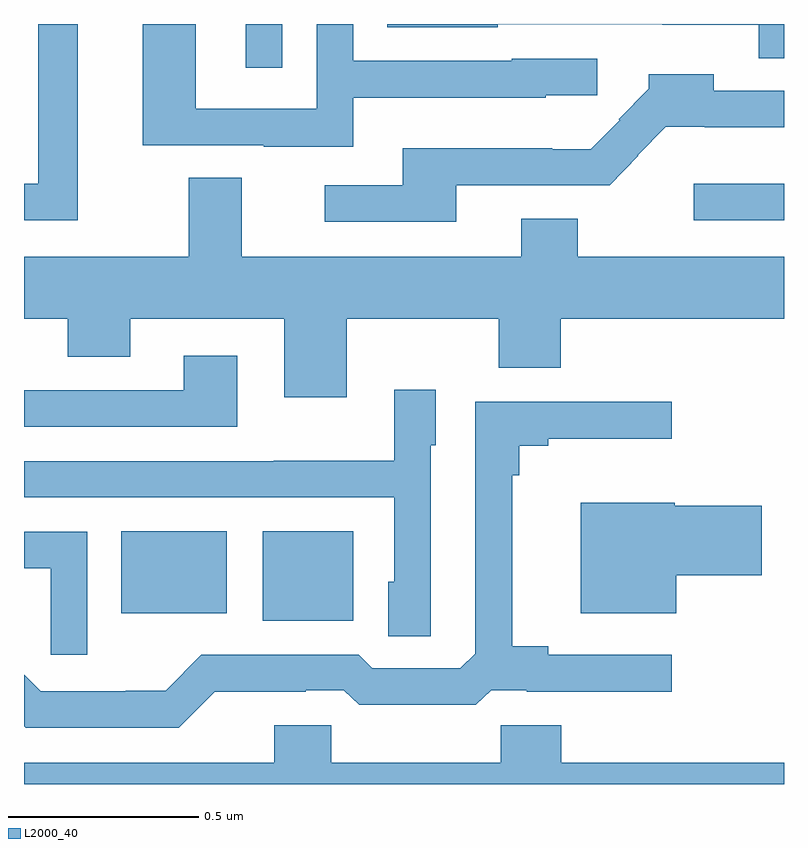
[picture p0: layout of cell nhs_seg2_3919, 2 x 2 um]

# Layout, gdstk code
import gdstk
lib = gdstk.Library(unit=1e-6, precision=1e-09)
def R(c, l, rs):  # rectangles x0, y0, x1, y1
    for r in rs: c.add(gdstk.rectangle(r[:2], r[2:], *l))
def P(c, l, *ps):  # polygons
    for p in ps: c.add(gdstk.Polygon(p, *l))
L2000_40 = (2000, 40)

nhs_seg2_3919 = lib.new_cell('nhs_seg2_3919')
R(nhs_seg2_3919, L2000_40, [(160.628,592.229,160.867,592.465), (160.256,592.25,160.534,592.465), (161.763,593.283,162,593.38), (160.583,593.685,160.68,593.8)])
P(nhs_seg2_3919, L2000_40, [(160.867,593.606),(161.373,593.606),(161.373,593.613),(161.508,593.613),(161.508,593.709),(161.283,593.709),(161.283,593.703),(160.866,593.703),(160.866,593.8),(160.77,593.8),(160.77,593.577),(160.452,593.577),(160.452,593.8),(160.313,593.8),(160.313,593.481),(160.631,593.481),(160.631,593.477),(160.867,593.477)],
  [(160.141,593.8),(160.037,593.8),(160.037,593.379),(160,593.379),(160,593.283),(160.141,593.283)],
  [(162,593.8),(160.956,593.8),(160.956,593.792),(161.247,593.792),(161.247,593.799),(161.679,593.799),(161.679,593.798),(161.934,593.798),(161.934,593.71),(162,593.71)],
  [(161.137,593.376),(161.541,593.376),(161.617,593.453),(161.615,593.455),(161.689,593.529),(161.791,593.529),(161.791,593.528),(162,593.528),(162,593.625),(161.815,593.625),(161.815,593.668),(161.644,593.668),(161.644,593.629),(161.565,593.55),(161.568,593.547),(161.492,593.471),(161.39,593.471),(161.39,593.473),(160.997,593.473),(160.997,593.376),(160.791,593.376),(160.791,593.28),(161.137,593.28)],
  [(160.849,593.024),(161.249,593.024),(161.249,592.896),(161.413,592.896),(161.413,593.024),(162,593.024),(162,593.188),(161.457,593.188),(161.457,593.287),(161.309,593.287),(161.309,593.188),(160.573,593.188),(160.573,593.396),(160.433,593.396),(160.433,593.188),(160,593.188),(160,593.024),(160.115,593.024),(160.115,592.925),(160.279,592.925),(160.279,593.024),(160.685,593.024),(160.685,592.818),(160.849,592.818)],
  [(160.561,592.927),(160.421,592.927),(160.421,592.836),(160,592.836),(160,592.74),(160.561,592.74)],
  [(161.07,592.692),(161.083,592.692),(161.083,592.837),(160.974,592.837),(160.974,592.651),(160.657,592.651),(160.657,592.65),(160,592.65),(160,592.554),(160.974,592.554),(160.974,592.332),(160.958,592.332),(160.958,592.189),(161.07,592.189)],
  [(160.502,592.043),(160.742,592.043),(160.742,592.047),(160.842,592.047),(160.882,592.008),(161.189,592.008),(161.229,592.047),(161.323,592.047),(161.323,592.043),(161.704,592.043),(161.704,592.14),(161.38,592.14),(161.38,592.163),(161.285,592.163),(161.285,592.613),(161.303,592.613),(161.303,592.69),(161.38,592.69),(161.38,592.709),(161.704,592.709),(161.704,592.806),(161.187,592.806),(161.187,592.143),(161.148,592.104),(160.917,592.104),(160.881,592.14),(160.467,592.14),(160.373,592.046),(160.268,592.046),(160.268,592.044),(160.044,592.044),(160,592.088),(160,591.952),(160.004,591.948),(160.407,591.948)],
  [(161.716,592.349),(161.941,592.349),(161.941,592.532),(161.712,592.532),(161.712,592.54),(161.465,592.54),(161.465,592.25),(161.716,592.25)],
  [(160.167,592.464),(160,592.464),(160,592.368),(160.071,592.368),(160.071,592.14),(160.167,592.14)],
  [(162,591.856),(161.414,591.856),(161.414,591.954),(161.254,591.954),(161.254,591.856),(160.809,591.856),(160.809,591.954),(160.658,591.954),(160.658,591.856),(160,591.856),(160,591.8),(162,591.8)])

lib.write_gds('nhs_seg2_3919.gds')
